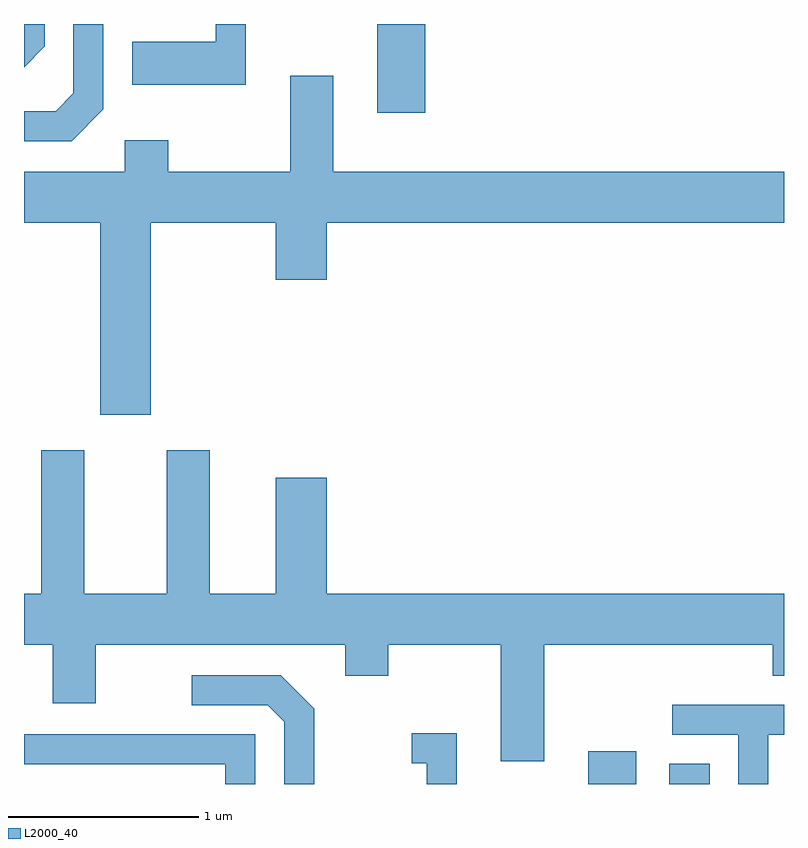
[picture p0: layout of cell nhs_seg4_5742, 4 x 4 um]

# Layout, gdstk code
import gdstk
lib = gdstk.Library(unit=1e-6, precision=1e-09)
def R(c, l, rs):  # rectangles x0, y0, x1, y1
    for r in rs: c.add(gdstk.rectangle(r[:2], r[2:], *l))
def P(c, l, *ps):  # polygons
    for p in ps: c.add(gdstk.Polygon(p, *l))
L2000_40 = (2000, 40)

nhs_seg4_5742 = lib.new_cell('nhs_seg4_5742')
R(nhs_seg4_5742, L2000_40, [(356.581,1313.982,356.834,1314.154), (357.006,1313.982,357.219,1314.089), (355.471,1317.516,355.724,1317.982)])
P(nhs_seg4_5742, L2000_40, [(353.719,1317.864),(353.719,1317.982),(353.611,1317.982),(353.611,1317.755)],
  [(354.779,1317.982),(354.621,1317.982),(354.621,1317.889),(354.181,1317.889),(354.181,1317.661),(354.779,1317.661)],
  [(354.029,1317.534),(354.029,1317.982),(353.871,1317.982),(353.871,1317.617),(353.779,1317.524),(353.611,1317.524),(353.611,1317.366),(353.862,1317.366)],
  [(354.279,1316.936),(354.936,1316.936),(354.936,1316.636),(355.204,1316.636),(355.204,1316.936),(357.611,1316.936),(357.611,1317.204),(355.239,1317.204),(355.239,1317.709),(355.011,1317.709),(355.011,1317.204),(354.369,1317.204),(354.369,1317.369),(354.141,1317.369),(354.141,1317.204),(353.611,1317.204),(353.611,1316.936),(354.011,1316.936),(354.011,1315.926),(354.279,1315.926)],
  [(356.349,1314.716),(357.551,1314.716),(357.551,1314.551),(357.611,1314.551),(357.611,1314.984),(355.204,1314.984),(355.204,1315.594),(354.936,1315.594),(354.936,1314.984),(354.589,1314.984),(354.589,1315.739),(354.361,1315.739),(354.361,1314.984),(353.929,1314.984),(353.929,1315.739),(353.701,1315.739),(353.701,1314.984),(353.611,1314.984),(353.611,1314.716),(353.761,1314.716),(353.761,1314.406),(353.989,1314.406),(353.989,1314.716),(355.301,1314.716),(355.301,1314.551),(355.529,1314.551),(355.529,1314.716),(356.121,1314.716),(356.121,1314.101),(356.349,1314.101)],
  [(355.139,1314.377),(354.962,1314.554),(354.493,1314.554),(354.493,1314.396),(354.894,1314.396),(354.981,1314.309),(354.981,1313.982),(355.139,1313.982)],
  [(357.529,1314.241),(357.611,1314.241),(357.611,1314.399),(357.023,1314.399),(357.023,1314.241),(357.371,1314.241),(357.371,1313.982),(357.529,1313.982)],
  [(355.889,1314.249),(355.653,1314.249),(355.653,1314.091),(355.731,1314.091),(355.731,1313.982),(355.889,1313.982)],
  [(354.829,1314.244),(353.611,1314.244),(353.611,1314.086),(354.671,1314.086),(354.671,1313.982),(354.829,1313.982)])

lib.write_gds('nhs_seg4_5742.gds')
